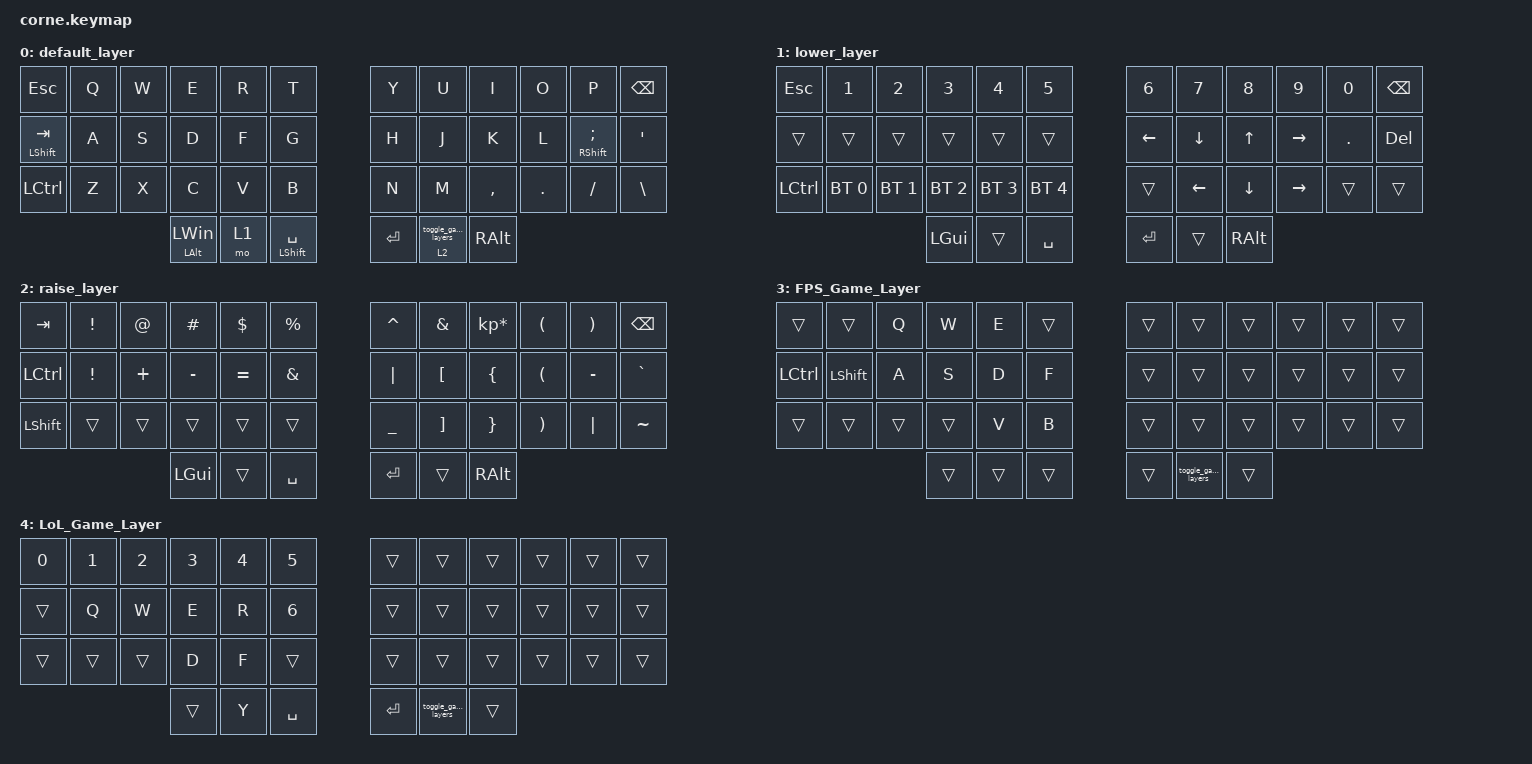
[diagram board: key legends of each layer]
/*
 * Copyright (c) 2020 The ZMK Contributors
 *
 * SPDX-License-Identifier: MIT
 */

#include <behaviors.dtsi>
#include <dt-bindings/zmk/bt.h>
#include <dt-bindings/zmk/keys.h>

/ {
    behaviors {
        hml: homewrow_mods_left {
            compatible = "zmk,behavior-hold-tap";
            label = "HOMEROW_MODS_LEFT_HAND";
            bindings = <&kp>, <&kp>;

            #binding-cells = <2>;
            tapping-term-ms = <150>;
            hold-trigger-key-positions = <6 18 30 31 7 19 8 20 32 9 21 33 10 22 34 11 23 35 39 40 41 0 1 2 3 4 5 12 13 14 15 16 17 24 25 26 27 28 29 36 37 38>;
            flavor = "tap-preferred";
        };

        hmr: homewrow_mods_right {
            compatible = "zmk,behavior-hold-tap";
            label = "HOMEROW_MODS_RIGHT_HAND";
            bindings = <&kp>, <&kp>;

            #binding-cells = <2>;
            tapping-term-ms = <150>;
            hold-trigger-key-positions = <0 1 2 3 4 5 12 13 14 15 16 17 24 25 26 27 28 29 36 37 38 6 7 8 9 10 11 18 19 20 21 22 23 30 31 32 33 34 35 39 40 41>;
            flavor = "tap-preferred";
        };

        toggle_game_layers: toggle_game_layers {
            compatible = "zmk,behavior-tap-dance";
            label = "TOGGLE_GAME_LAYERS";
            #binding-cells = <0>;
            bindings = <&trans>, <&tog 3>, <&tog 4>;

            tapping-term-ms = <200>;
        };

        hmr_layers: hmr_layers {
            compatible = "zmk,behavior-hold-tap";
            label = "HMR_LAYERS";
            bindings = <&mo>, <&toggle_game_layers>;

            #binding-cells = <2>;
            tapping-term-ms = <200>;
            hold-trigger-key-positions = <0 1 2 3 4 5 12 13 14 15 16 17 24 25 26 27 28 29 36 37 38 6 7 8 9 10 11 18 19 20 21 22 23 30 31 32 33 34 35 39 40 41>;
        };
    };

    macros {
    };

    keymap {
        compatible = "zmk,keymap";

        default_layer {
            // -----------------------------------------------------------------------------------------
            // |  ESC  |  Q  |  W  |  E  |  R  |  T  |   |  Y  |  U   |  I  |  O  |  P  | BKSP    |
            // |  TAB  |  A  |  S  |  D  |  F  |  G  |   |  H  |  J   |  K  |  L  |  ;  |  '      |
            // | LCTRL |  Z  |  X  |  C  |  V  |  B  |   |  N  |  M   |  ,  |  .  |  /  | RSHIFT  |
            //                     | GUI | LWR | SPC |   | ENT | RSE  | ALT |

            bindings = <
&kp ESC             &kp Q  &kp W  &kp E              &kp R  &kp T                   &kp Y      &kp U            &kp I      &kp O    &kp P                       &kp BSPC
&mt LEFT_SHIFT TAB  &kp A  &kp S  &kp D              &kp F  &kp G                   &kp H      &kp J            &kp K      &kp L    &hmr RIGHT_SHIFT SEMICOLON  &kp SQT
&kp LCTRL           &kp Z  &kp X  &kp C              &kp V  &kp B                   &kp N      &kp M            &kp COMMA  &kp DOT  &kp FSLH                    &kp BACKSLASH
                                  &mt LEFT_ALT LWIN  &mo 1  &mt LEFT_SHIFT SPACE    &kp ENTER  &hmr_layers 2 0  &kp RALT
            >;
        };

        lower_layer {
            // -----------------------------------------------------------------------------------------
            // |  TAB |  1  |  2  |  3  |  4  |  5  |   |  6  |  7  |  8  |  9  |  0  | BKSP |
            // | BTCLR| BT1 | BT2 | BT3 | BT4 | BT5 |   | LFT | DWN |  UP | RGT |     |      |
            // | SHFT |     |     |     |     |     |   |     |     |     |     |     |      |
            //                    | GUI |     | SPC |   | ENT |     | ALT |

            bindings = <
&kp ESCAPE  &kp NUMBER_1  &kp NUMBER_2  &kp NUMBER_3  &kp NUMBER_4  &kp N5          &kp NUMBER_6    &kp N7          &kp N8        &kp N9           &kp N0      &kp BSPC
&trans      &trans        &trans        &trans        &trans        &trans          &kp LEFT_ARROW  &kp DOWN_ARROW  &kp UP_ARROW  &kp RIGHT_ARROW  &kp PERIOD  &kp DEL
&kp LCTRL   &bt BT_SEL 0  &bt BT_SEL 1  &bt BT_SEL 2  &bt BT_SEL 3  &bt BT_SEL 4    &trans          &kp LEFT_ARROW  &kp DOWN      &kp RIGHT        &trans      &trans
                                        &kp LGUI      &trans        &kp SPACE       &kp RET         &trans          &kp RALT
            >;
        };

        raise_layer {
            // -----------------------------------------------------------------------------------------
            // |  TAB |  !  |  @  |  #  |  $  |  %  |   |  ^  |  &  |  *  |  (  |  )  | BKSP |
            // | CTRL |     |     |     |     |     |   |  -  |  =  |  [  |  ]  |  \  |  `   |
            // | SHFT |     |     |     |     |     |   |  _  |  +  |  {  |  }  | "|" |  ~   |
            //                    | GUI |     | SPC |   | ENT |     | ALT |

            bindings = <
&kp TAB    &kp EXCL  &kp AT    &kp HASH   &kp DLLR   &kp PRCNT    &kp CARET  &kp AMPS           &kp KP_MULTIPLY  &kp LPAR               &kp RPAR   &kp BSPC
&kp LCTRL  &kp EXCL  &kp PLUS  &kp MINUS  &kp EQUAL  &kp AMPS     &kp PIPE   &kp LEFT_BRACKET   &kp LEFT_BRACE   &kp LEFT_PARENTHESIS   &kp MINUS  &kp GRAVE
&kp LSHFT  &trans    &trans    &trans     &trans     &trans       &kp UNDER  &kp RIGHT_BRACKET  &kp RIGHT_BRACE  &kp RIGHT_PARENTHESIS  &kp PIPE   &kp TILDE
                               &kp LGUI   &trans     &kp SPACE    &kp RET    &trans             &kp RALT
            >;
        };

        FPS_Game_Layer {
            bindings = <
&trans            &trans          &kp Q   &kp W   &kp E   &trans    &trans  &trans               &trans  &trans  &trans  &trans
&kp LEFT_CONTROL  &kp LEFT_SHIFT  &kp A   &kp S   &kp D   &kp F     &trans  &trans               &trans  &trans  &trans  &trans
&trans            &trans          &trans  &trans  &kp V   &kp B     &trans  &trans               &trans  &trans  &trans  &trans
                                          &trans  &trans  &trans    &trans  &toggle_game_layers  &trans
            >;
        };

        LoL_Game_Layer {
            bindings = <
&kp N0  &kp NUMBER_1  &kp NUMBER_2  &kp NUMBER_3  &kp NUMBER_4  &kp N5          &trans     &trans               &trans  &trans  &trans  &trans
&trans  &kp Q         &kp W         &kp E         &kp R         &kp NUMBER_6    &trans     &trans               &trans  &trans  &trans  &trans
&trans  &trans        &trans        &kp D         &kp F         &trans          &trans     &trans               &trans  &trans  &trans  &trans
                                    &trans        &kp Y         &kp SPACE       &kp ENTER  &toggle_game_layers  &trans
            >;
        };
    };
};
